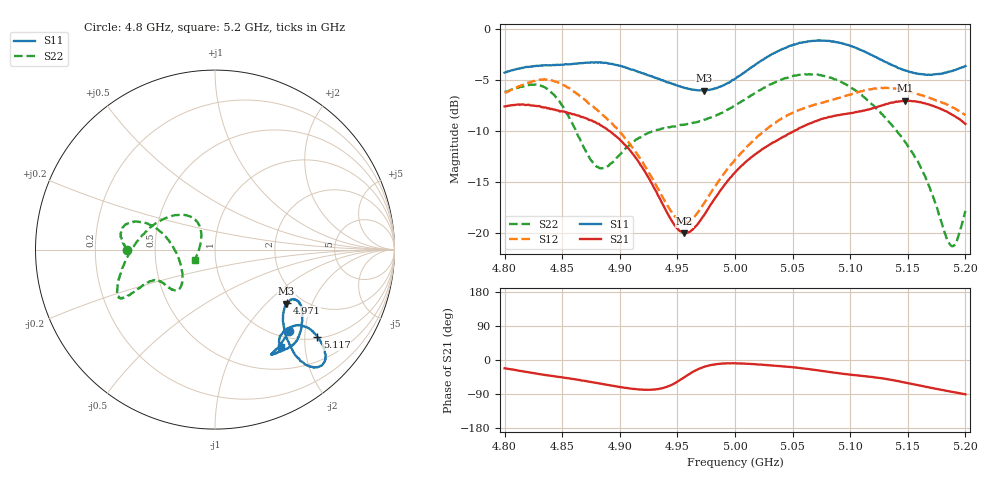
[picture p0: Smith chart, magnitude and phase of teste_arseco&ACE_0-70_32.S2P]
! Network Analyzer HP8722D
! Hewlett-Packard
! Data name: Linha & Wilkinson
! Saver's name: Rodrigo Anjos
! Comments: Teste da utilização de aquisição
! continua pelo VNA HP8722D
! Time and date: 8/5/2025 13:01
!  Frequency  S11  S21  S12  S22
# HZ  S  MA R 50
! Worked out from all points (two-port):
!   401 points, 4.8 GHz to 5.2 GHz, reference 50 ohm
!   highest |S21| = -7.04 dB at 5.148 GHz (marker M1); lowest = -20.0 dB at 4.956 GHz (marker M2)
!   |S21| within 3 dB of the highest: start of sweep to 4.891 GHz; 5.051 GHz to end of sweep
!   lowest |S11| = -6.0 dB at 4.973 GHz (marker M3), VSWR 2.99, Z = 82.6 - j66.4 ohm
!   |S11| at or under -10 dB: nowhere
!   |S22| runs from -21.3 to -4.4 dB; largest |S21 - S12| = 0.95
!   S11 on the Smith chart (normalised r, x): 4.8 GHz: 1.14, -1.64; 4.971 GHz: 1.68, -1.33; 5.117 GHz: 1.03, -2.31; 5.2 GHz: 0.82, -1.57
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4.8e9  0.6107 -47.7  0.4169 -21.9  0.4878 -175.9  0.4915 -180.0
4.821e9  0.6512 -58.6  0.4252 -32.7  0.5436 176.8  0.5305 171.3
4.837e9  0.6634 -61.7  0.4078 -40.5  0.5631 167.4  0.5083 163.4
4.851e9  0.6675 -59.9  0.3942 -46.4  0.5303 158.5  0.4139 159.0
4.867e9  0.6797 -54.8  0.3704 -54.2  0.4609 150.6  0.2755 166.7
4.886e9  0.6811 -48.5  0.3297 -63.8  0.3757 144.0  0.2083 -158.6
4.909e9  0.6359 -40.6  0.2533 -75.1  0.2718 137.8  0.2723 -133.4
4.934e9  0.5687 -32.9  0.1501 -76.3  0.162 141.1  0.3208 -135.6
4.956e9  0.515 -32.6  0.09974 -45.7  0.112 172.6  0.3395 -144.5
4.971e9  0.4996 -36.6  0.1175 -20.6  0.134 -162.3  0.3545 -150.4
4.973e9  0.4989 -37.2  0.1218 -18.5  0.1392 -160.0  0.3584 -151.0
5e9  0.5693 -47.8  0.1979 -8.8  0.2283 -146.8  0.4224 -153.9
5.038e9  0.7815 -52.6  0.2871 -15.9  0.357 -147.9  0.5578 -152.1
5.067e9  0.8725 -48.4  0.348 -25.3  0.4217 -154.4  0.5989 -154.9
5.094e9  0.847 -43.4  0.3821 -36.4  0.4654 -162.0  0.5428 -165.6
5.117e9  0.7508 -40.5  0.4041 -44.2  0.505 -172.5  0.438 174.2
5.134e9  0.6764 -40.2  0.4328 -51.5  0.5137 177.3  0.3487 153.4
5.148e9  0.6255 -42.4  0.4446 -59.8  0.4975 169.3  0.2783 136.1
5.165e9  0.5967 -48.0  0.4317 -70.4  0.4661 161.5  0.1897 123.2
5.187e9  0.6196 -54.8  0.3838 -83.3  0.4183 153.8  0.08707 158.8
5.192e9  0.6323 -55.5  0.3692 -86.0  0.4041 152.1  0.08997 -178.4
5.2e9  0.6584 -55.8  0.3423 -90.5  0.3779 149.4  0.1282 -152.0
